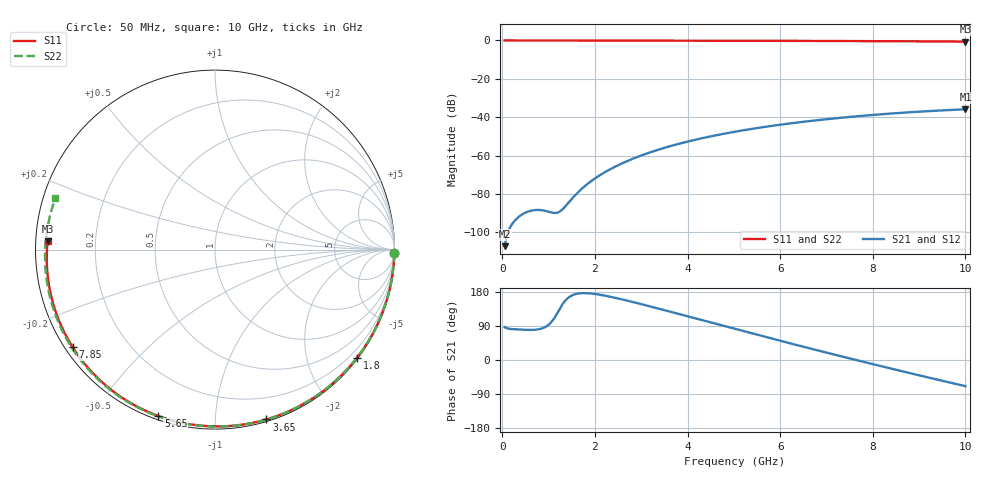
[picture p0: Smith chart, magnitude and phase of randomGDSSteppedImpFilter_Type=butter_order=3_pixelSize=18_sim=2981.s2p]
! freq	dB(S11)	phase(S11)	dB(S12)	phase(S12)
!  dB(S21)	phase(S21)	dB(S22)	phase(S22)
!S-par simulation data
#  GHz  S  DB  R 50
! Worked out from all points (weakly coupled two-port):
!   200 points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, 50 MHz to 10 GHz, reference 50 ohm
!   highest |S21| = -35.89 dB at 10 GHz (marker M1); lowest = -107.2 dB at 50 MHz (marker M2)
!   lowest |S11| = -0.6 dB at 10 GHz (marker M3), VSWR 29.33, Z = 1.71 + j1.21 ohm
!   |S11| at or under -10 dB: nowhere
!   |S22| runs from -0.6 to 0.0 dB; largest |S21 - S12| = 0
!   S11 on the Smith chart (normalised r, x): 50 MHz: open; 1.8 GHz: 0.03, -2.96; 3.65 GHz: 0.02, -1.35; 5.65 GHz: 0.02, -0.72; 7.85 GHz: 0.02, -0.31; 10 GHz: 0.03, +0.02
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0.05  -0.00 -1.0  -107.19 86.6  -107.19 86.6  -0.00 -1.2
0.45  -0.01 -9.4  -90.34 80.0  -90.34 80.0  -0.02 -10.6
0.8  -0.02 -16.8  -88.33 81.4  -88.33 81.4  -0.02 -18.8
1.2  -0.03 -25.1  -89.66 126.3  -89.66 126.3  -0.04 -28.1
1.6  -0.04 -33.2  -79.98 174.4  -79.98 174.4  -0.05 -37.2
1.75  -0.05 -36.3  -76.56 176.4  -76.56 176.4  -0.05 -40.6
1.8  -0.05 -37.3  -75.54 176.4  -75.54 176.4  -0.05 -41.7
2.1  -0.06 -43.3  -70.32 172.4  -70.32 172.4  -0.06 -48.3
2.45  -0.06 -50.2  -65.60 163.8  -65.60 163.8  -0.07 -56.0
2.9  -0.08 -59.0  -60.86 150.6  -60.86 150.6  -0.08 -65.6
3.4  -0.09 -68.5  -56.69 134.8  -56.69 134.8  -0.10 -76.0
3.65  -0.10 -73.2  -54.92 126.7  -54.92 126.7  -0.11 -81.1
4.35  -0.12 -86.0  -50.75 103.9  -50.75 103.9  -0.13 -95.0
5.05  -0.15 -98.4  -47.44 81.1  -47.44 81.1  -0.16 -108.3
5.65  -0.18 -108.8  -45.10 61.8  -45.10 61.8  -0.19 -119.4
6.15  -0.21 -117.2  -43.43 46.0  -43.43 46.0  -0.22 -128.4
6.7  -0.25 -126.5  -41.82 28.8  -41.82 28.8  -0.26 -138.2
7.3  -0.29 -136.4  -40.30 10.3  -40.30 10.3  -0.31 -148.8
7.85  -0.34 -145.6  -39.11 -6.4  -39.11 -6.4  -0.36 -158.4
8.35  -0.39 -154.0  -38.16 -21.3  -38.16 -21.3  -0.40 -167.3
9.2  -0.49 -168.5  -36.83 -46.2  -36.83 -46.2  -0.50 177.3
10  -0.59 177.2  -35.89 -69.0  -35.89 -69.0  -0.59 162.2
